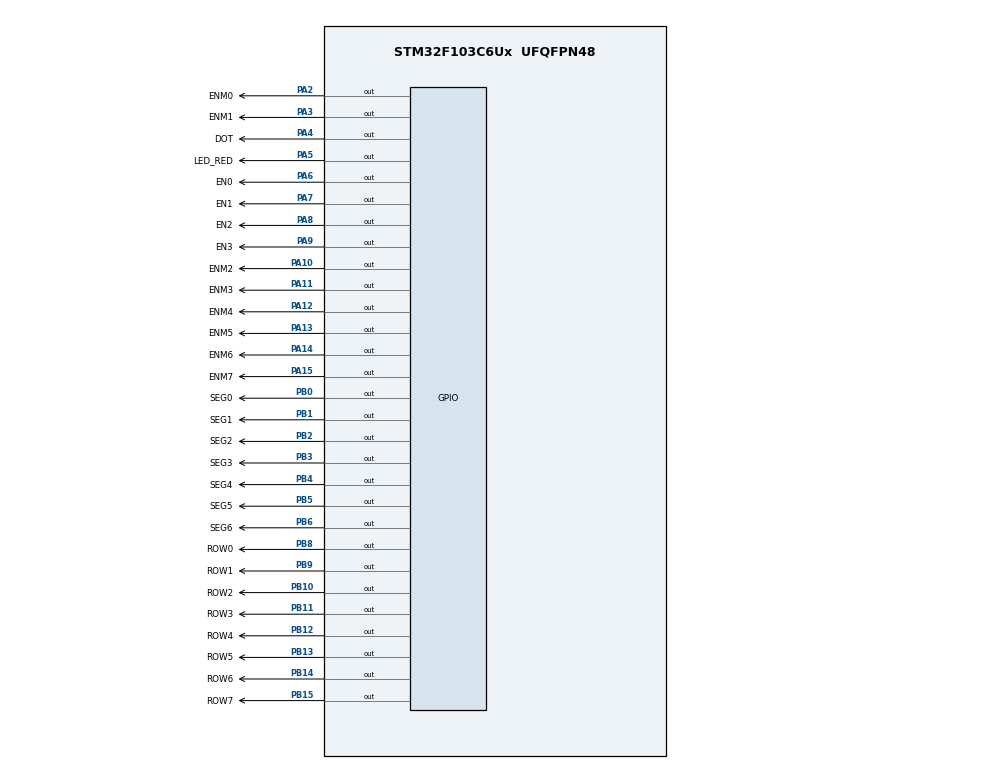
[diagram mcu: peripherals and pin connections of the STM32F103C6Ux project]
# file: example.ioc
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Mcu.Family=STM32F1
Mcu.Name=STM32F103C6Ux
Mcu.Package=UFQFPN48
NVIC.PriorityGroup=NVIC_PRIORITYGROUP_4
NVIC.TIM2_IRQn=true\:0\:0\:false\:false\:true\:true\:true
PA10.GPIO_Label=ENM2
PA10.Signal=GPIO_Output
PA11.GPIO_Label=ENM3
PA11.Signal=GPIO_Output
PA12.GPIO_Label=ENM4
PA12.Signal=GPIO_Output
PA13.GPIO_Label=ENM5
PA13.Signal=GPIO_Output
PA14.GPIO_Label=ENM6
PA14.Signal=GPIO_Output
PA15.GPIO_Label=ENM7
PA15.Signal=GPIO_Output
PA2.GPIO_Label=ENM0
PA2.Signal=GPIO_Output
PA3.GPIO_Label=ENM1
PA3.Signal=GPIO_Output
PA4.GPIO_Label=DOT
PA4.Signal=GPIO_Output
PA5.GPIO_Label=LED_RED
PA5.Signal=GPIO_Output
PA6.GPIO_Label=EN0
PA6.Signal=GPIO_Output
PA7.GPIO_Label=EN1
PA7.Signal=GPIO_Output
PA8.GPIO_Label=EN2
PA8.Signal=GPIO_Output
PA9.GPIO_Label=EN3
PA9.Signal=GPIO_Output
PB0.GPIO_Label=SEG0
PB0.Signal=GPIO_Output
PB1.GPIO_Label=SEG1
PB1.Signal=GPIO_Output
PB10.GPIO_Label=ROW2
PB10.Signal=GPIO_Output
PB11.GPIO_Label=ROW3
PB11.Signal=GPIO_Output
PB12.GPIO_Label=ROW4
PB12.Signal=GPIO_Output
PB13.GPIO_Label=ROW5
PB13.Signal=GPIO_Output
PB14.GPIO_Label=ROW6
PB14.Signal=GPIO_Output
PB15.GPIO_Label=ROW7
PB15.Signal=GPIO_Output
PB2.GPIO_Label=SEG2
PB2.Signal=GPIO_Output
PB3.GPIO_Label=SEG3
PB3.Signal=GPIO_Output
PB4.GPIO_Label=SEG4
PB4.Signal=GPIO_Output
PB5.GPIO_Label=SEG5
PB5.Signal=GPIO_Output
PB6.GPIO_Label=SEG6
PB6.Signal=GPIO_Output
PB8.GPIO_Label=ROW0
PB8.Signal=GPIO_Output
PB9.GPIO_Label=ROW1
PB9.Signal=GPIO_Output
ProjectManager.HeapSize=0x200
ProjectManager.StackSize=0x400
ProjectManager.TargetToolchain=STM32CubeIDE
RCC.APB1Freq_Value=8000000
RCC.APB2Freq_Value=8000000
TIM2.Period=9
TIM2.Prescaler=7999
VP_SYS_VS_ND.Mode=No_Debug
VP_TIM2_VS_ClockSourceINT.Mode=Internal
board=custom

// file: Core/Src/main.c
/* USER CODE BEGIN Header */
/**
  ******************************************************************************
  * @file           : main.c
  * @brief          : Main program body
  ******************************************************************************
  * @attention
  *
  * <h2><center>&copy; Copyright (c) 2023 STMicroelectronics.
  * All rights reserved.</center></h2>
  *
  * This software component is licensed by ST under BSD 3-Clause license,
  * the "License"; You may not use this file except in compliance with the
  * License. You may obtain a copy of the License at:
  *                        opensource.org/licenses/BSD-3-Clause
  *
  ******************************************************************************
  */
/* USER CODE END Header */
#include "main.h"

/* USER CODE BEGIN Includes */
#include "software_timer.h"
/* USER CODE END Includes */

TIM_HandleTypeDef htim2;

void SystemClock_Config(void);
static void MX_GPIO_Init(void);
static void MX_TIM2_Init(void);

/* USER CODE BEGIN 0 */
void display7SEG(int counter){
	if (counter == 0){
		HAL_GPIO_WritePin(SEG0_GPIO_Port, SEG0_Pin, GPIO_PIN_RESET);
		HAL_GPIO_WritePin(SEG1_GPIO_Port, SEG1_Pin, GPIO_PIN_RESET);
		HAL_GPIO_WritePin(SEG2_GPIO_Port, SEG2_Pin, GPIO_PIN_RESET);
		HAL_GPIO_WritePin(SEG3_GPIO_Port, SEG3_Pin, GPIO_PIN_RESET);
		HAL_GPIO_WritePin(SEG4_GPIO_Port, SEG4_Pin, GPIO_PIN_RESET);
		HAL_GPIO_WritePin(SEG5_GPIO_Port, SEG5_Pin, GPIO_PIN_RESET);
		HAL_GPIO_WritePin(SEG6_GPIO_Port, SEG6_Pin, GPIO_PIN_SET);

	}
	else if (counter == 1){
		HAL_GPIO_WritePin(SEG0_GPIO_Port, SEG0_Pin, GPIO_PIN_SET);
		HAL_GPIO_WritePin(SEG1_GPIO_Port, SEG1_Pin, GPIO_PIN_RESET);
		HAL_GPIO_WritePin(SEG2_GPIO_Port, SEG2_Pin, GPIO_PIN_RESET);
		HAL_GPIO_WritePin(SEG3_GPIO_Port, SEG3_Pin, GPIO_PIN_SET);
		HAL_GPIO_WritePin(SEG4_GPIO_Port, SEG4_Pin, GPIO_PIN_SET);
		HAL_GPIO_WritePin(SEG5_GPIO_Port, SEG5_Pin, GPIO_PIN_SET);
		HAL_GPIO_WritePin(SEG6_GPIO_Port, SEG6_Pin, GPIO_PIN_SET);
	}
	else if (counter == 2){
		HAL_GPIO_WritePin(SEG0_GPIO_Port, SEG0_Pin, GPIO_PIN_RESET);
		HAL_GPIO_WritePin(SEG1_GPIO_Port, SEG1_Pin, GPIO_PIN_RESET);
		HAL_GPIO_WritePin(SEG2_GPIO_Port, SEG2_Pin, GPIO_PIN_SET);
		HAL_GPIO_WritePin(SEG3_GPIO_Port, SEG3_Pin, GPIO_PIN_RESET);
		HAL_GPIO_WritePin(SEG4_GPIO_Port, SEG4_Pin, GPIO_PIN_RESET);
		HAL_GPIO_WritePin(SEG5_GPIO_Port, SEG5_Pin, GPIO_PIN_SET);
		HAL_GPIO_WritePin(SEG6_GPIO_Port, SEG6_Pin, GPIO_PIN_RESET);
	}
	else if (counter == 3){
		HAL_GPIO_WritePin(SEG0_GPIO_Port, SEG0_Pin, GPIO_PIN_RESET);
		HAL_GPIO_WritePin(SEG1_GPIO_Port, SEG1_Pin, GPIO_PIN_RESET);
		HAL_GPIO_WritePin(SEG2_GPIO_Port, SEG2_Pin, GPIO_PIN_RESET);
		HAL_GPIO_WritePin(SEG3_GPIO_Port, SEG3_Pin, GPIO_PIN_RESET);
		HAL_GPIO_WritePin(SEG4_GPIO_Port, SEG4_Pin, GPIO_PIN_SET);
		HAL_GPIO_WritePin(SEG5_GPIO_Port, SEG5_Pin, GPIO_PIN_SET);
		HAL_GPIO_WritePin(SEG6_GPIO_Port, SEG6_Pin, GPIO_PIN_RESET);
	}
	else if (counter == 4){
		HAL_GPIO_WritePin(SEG0_GPIO_Port, SEG0_Pin, GPIO_PIN_SET);
		HAL_GPIO_WritePin(SEG1_GPIO_Port, SEG1_Pin, GPIO_PIN_RESET);
		HAL_GPIO_WritePin(SEG2_GPIO_Port, SEG2_Pin, GPIO_PIN_RESET);
		HAL_GPIO_WritePin(SEG3_GPIO_Port, SEG3_Pin, GPIO_PIN_SET);
		HAL_GPIO_WritePin(SEG4_GPIO_Port, SEG4_Pin, GPIO_PIN_SET);
		HAL_GPIO_WritePin(SEG5_GPIO_Port, SEG5_Pin, GPIO_PIN_RESET);
		HAL_GPIO_WritePin(SEG6_GPIO_Port, SEG6_Pin, GPIO_PIN_RESET);
	}
	else if(counter == 5){
		HAL_GPIO_WritePin(SEG0_GPIO_Port, SEG0_Pin, GPIO_PIN_RESET);
		HAL_GPIO_WritePin(SEG1_GPIO_Port, SEG1_Pin, GPIO_PIN_SET);
		HAL_GPIO_WritePin(SEG2_GPIO_Port, SEG2_Pin, GPIO_PIN_RESET);
		HAL_GPIO_WritePin(SEG3_GPIO_Port, SEG3_Pin, GPIO_PIN_RESET);
		HAL_GPIO_WritePin(SEG4_GPIO_Port, SEG4_Pin, GPIO_PIN_SET);
		HAL_GPIO_WritePin(SEG5_GPIO_Port, SEG5_Pin, GPIO_PIN_RESET);
		HAL_GPIO_WritePin(SEG6_GPIO_Port, SEG6_Pin, GPIO_PIN_RESET);
	}
	else if (counter == 6){
		HAL_GPIO_WritePin(SEG0_GPIO_Port, SEG0_Pin, GPIO_PIN_RESET);
		HAL_GPIO_WritePin(SEG1_GPIO_Port, SEG1_Pin, GPIO_PIN_SET);
		HAL_GPIO_WritePin(SEG2_GPIO_Port, SEG2_Pin, GPIO_PIN_RESET);
		HAL_GPIO_WritePin(SEG3_GPIO_Port, SEG3_Pin, GPIO_PIN_RESET);
		HAL_GPIO_WritePin(SEG4_GPIO_Port, SEG4_Pin, GPIO_PIN_RESET);
		HAL_GPIO_WritePin(SEG5_GPIO_Port, SEG5_Pin, GPIO_PIN_RESET);
		HAL_GPIO_WritePin(SEG6_GPIO_Port, SEG6_Pin, GPIO_PIN_RESET);
	}
	else if (counter == 7){
		HAL_GPIO_WritePin(SEG0_GPIO_Port, SEG0_Pin, GPIO_PIN_RESET);
		HAL_GPIO_WritePin(SEG1_GPIO_Port, SEG1_Pin, GPIO_PIN_RESET);
		HAL_GPIO_WritePin(SEG2_GPIO_Port, SEG2_Pin, GPIO_PIN_RESET);
		HAL_GPIO_WritePin(SEG3_GPIO_Port, SEG3_Pin, GPIO_PIN_SET);
		HAL_GPIO_WritePin(SEG4_GPIO_Port, SEG4_Pin, GPIO_PIN_SET);
		HAL_GPIO_WritePin(SEG5_GPIO_Port, SEG5_Pin, GPIO_PIN_SET);
		HAL_GPIO_WritePin(SEG6_GPIO_Port, SEG6_Pin, GPIO_PIN_SET);
	}
	else if (counter == 8){
		HAL_GPIO_WritePin(SEG0_GPIO_Port, SEG0_Pin, GPIO_PIN_RESET);
		HAL_GPIO_WritePin(SEG1_GPIO_Port, SEG1_Pin, GPIO_PIN_RESET);
		HAL_GPIO_WritePin(SEG2_GPIO_Port, SEG2_Pin, GPIO_PIN_RESET);
		HAL_GPIO_WritePin(SEG3_GPIO_Port, SEG3_Pin, GPIO_PIN_RESET);
		HAL_GPIO_WritePin(SEG4_GPIO_Port, SEG4_Pin, GPIO_PIN_RESET);
		HAL_GPIO_WritePin(SEG5_GPIO_Port, SEG5_Pin, GPIO_PIN_RESET);
		HAL_GPIO_WritePin(SEG6_GPIO_Port, SEG6_Pin, GPIO_PIN_RESET);
	}
	else {
		HAL_GPIO_WritePin(SEG0_GPIO_Port, SEG0_Pin, GPIO_PIN_RESET);
		HAL_GPIO_WritePin(SEG1_GPIO_Port, SEG1_Pin, GPIO_PIN_RESET);
		HAL_GPIO_WritePin(SEG2_GPIO_Port, SEG2_Pin, GPIO_PIN_RESET);
		HAL_GPIO_WritePin(SEG3_GPIO_Port, SEG3_Pin, GPIO_PIN_RESET);
		HAL_GPIO_WritePin(SEG4_GPIO_Port, SEG4_Pin, GPIO_PIN_SET);
		HAL_GPIO_WritePin(SEG5_GPIO_Port, SEG5_Pin, GPIO_PIN_RESET);
		HAL_GPIO_WritePin(SEG6_GPIO_Port, SEG6_Pin, GPIO_PIN_RESET);
	}
}

const int MAX_LED = 4;
int index_led = 0;
int led_buffer[4] = {1, 5, 0, 8};
void update7SEG (int index){

	switch(index){
		case 0:
			HAL_GPIO_WritePin(EN0_GPIO_Port, EN0_Pin, RESET);
			HAL_GPIO_WritePin(EN1_GPIO_Port, EN1_Pin, SET);
			HAL_GPIO_WritePin(EN2_GPIO_Port, EN2_Pin, SET);
			HAL_GPIO_WritePin(EN3_GPIO_Port, EN3_Pin, SET);
			display7SEG(led_buffer[index]);
			break;
		case 1:
			HAL_GPIO_WritePin(EN0_GPIO_Port, EN0_Pin, SET);
			HAL_GPIO_WritePin(EN1_GPIO_Port, EN1_Pin, RESET);
			HAL_GPIO_WritePin(EN2_GPIO_Port, EN2_Pin, SET);
			HAL_GPIO_WritePin(EN3_GPIO_Port, EN3_Pin, SET);
			display7SEG(led_buffer[index]);
			break;
		case 2:
			HAL_GPIO_WritePin(EN0_GPIO_Port, EN0_Pin, SET);
			HAL_GPIO_WritePin(EN1_GPIO_Port, EN1_Pin, SET);
			HAL_GPIO_WritePin(EN2_GPIO_Port, EN2_Pin, RESET);
			HAL_GPIO_WritePin(EN3_GPIO_Port, EN3_Pin, SET);
			display7SEG(led_buffer[index]);
			break;
		case 3:
			HAL_GPIO_WritePin(EN0_GPIO_Port, EN0_Pin, SET);
			HAL_GPIO_WritePin(EN1_GPIO_Port, EN1_Pin, SET);
			HAL_GPIO_WritePin(EN2_GPIO_Port, EN2_Pin, SET);
			HAL_GPIO_WritePin(EN3_GPIO_Port, EN3_Pin, RESET);
			display7SEG(led_buffer[index]);
			break;
		default:
			break;
	}
}

void updateClockBuffer(int min, int hour){
	led_buffer[0] = hour / 10;
	led_buffer[1] = hour % 10;
	led_buffer[2] = min / 10;
	led_buffer[3] = min % 10;
}
/* USER CODE END 0 */

int main(void)
{

  /* MCU Configuration--------------------------------------------------------*/

  /* Reset of all peripherals, Initializes the Flash interface and the Systick. */
  HAL_Init();

  /* Configure the system clock */
  SystemClock_Config();

  /* Initialize all configured peripherals */
  MX_GPIO_Init();
  MX_TIM2_Init();
  /* USER CODE BEGIN 2 */
  HAL_TIM_Base_Start_IT(&htim2);
  /* USER CODE END 2 */

  /* Infinite loop */
  /* USER CODE BEGIN WHILE */
  setTimer0(100);
  setTimer1(100);
  setTimer2(25);
  int hour = 15, minute = 8, second = 50;
  while (1)
  {
	  if (timer0_flag == 1){
		  HAL_GPIO_TogglePin(LED_RED_GPIO_Port, LED_RED_Pin);
		  HAL_GPIO_TogglePin(DOT_GPIO_Port, DOT_Pin);
		  setTimer0(100);
	  }

	  if (timer1_flag == 1){
		 if(second >= 60){
		  	  minute++;
		  	 second = 0;
		 }
		 if(minute >= 60){
		  	 hour++;
		  	 minute = 0;
		 }
		 if(hour >= 24){
		  	 hour = 0;
		 }
		 updateClockBuffer(minute, hour);
		 second++;
		 setTimer1(100);
	  }
	  if(timer2_flag == 1){
		  update7SEG(index_led++);
		  index_led %= MAX_LED;
		  setTimer2(25);
	  }
    /* USER CODE END WHILE */

  }
}

void SystemClock_Config(void)
{
  RCC_OscInitTypeDef RCC_OscInitStruct = {0};
  RCC_ClkInitTypeDef RCC_ClkInitStruct = {0};

  /** Initializes the RCC Oscillators according to the specified parameters
  * in the RCC_OscInitTypeDef structure.
  */
  RCC_OscInitStruct.OscillatorType = RCC_OSCILLATORTYPE_HSI;
  RCC_OscInitStruct.HSIState = RCC_HSI_ON;
  RCC_OscInitStruct.HSICalibrationValue = RCC_HSICALIBRATION_DEFAULT;
  RCC_OscInitStruct.PLL.PLLState = RCC_PLL_NONE;
  if (HAL_RCC_OscConfig(&RCC_OscInitStruct) != HAL_OK)
  {
    Error_Handler();
  }
  /** Initializes the CPU, AHB and APB buses clocks
  */
  RCC_ClkInitStruct.ClockType = RCC_CLOCKTYPE_HCLK|RCC_CLOCKTYPE_SYSCLK
                              |RCC_CLOCKTYPE_PCLK1|RCC_CLOCKTYPE_PCLK2;
  RCC_ClkInitStruct.SYSCLKSource = RCC_SYSCLKSOURCE_HSI;
  RCC_ClkInitStruct.AHBCLKDivider = RCC_SYSCLK_DIV1;
  RCC_ClkInitStruct.APB1CLKDivider = RCC_HCLK_DIV1;
  RCC_ClkInitStruct.APB2CLKDivider = RCC_HCLK_DIV1;

  if (HAL_RCC_ClockConfig(&RCC_ClkInitStruct, FLASH_LATENCY_0) != HAL_OK)
  {
    Error_Handler();
  }
}

static void MX_TIM2_Init(void)
{

  TIM_ClockConfigTypeDef sClockSourceConfig = {0};
  TIM_MasterConfigTypeDef sMasterConfig = {0};

  htim2.Instance = TIM2;
  htim2.Init.Prescaler = 7999;
  htim2.Init.CounterMode = TIM_COUNTERMODE_UP;
  htim2.Init.Period = 9;
  htim2.Init.ClockDivision = TIM_CLOCKDIVISION_DIV1;
  htim2.Init.AutoReloadPreload = TIM_AUTORELOAD_PRELOAD_DISABLE;
  if (HAL_TIM_Base_Init(&htim2) != HAL_OK)
  {
    Error_Handler();
  }
  sClockSourceConfig.ClockSource = TIM_CLOCKSOURCE_INTERNAL;
  if (HAL_TIM_ConfigClockSource(&htim2, &sClockSourceConfig) != HAL_OK)
  {
    Error_Handler();
  }
  sMasterConfig.MasterOutputTrigger = TIM_TRGO_RESET;
  sMasterConfig.MasterSlaveMode = TIM_MASTERSLAVEMODE_DISABLE;
  if (HAL_TIMEx_MasterConfigSynchronization(&htim2, &sMasterConfig) != HAL_OK)
  {
    Error_Handler();
  }

}

static void MX_GPIO_Init(void)
{
  GPIO_InitTypeDef GPIO_InitStruct = {0};

  /* GPIO Ports Clock Enable */
  __HAL_RCC_GPIOA_CLK_ENABLE();
  __HAL_RCC_GPIOB_CLK_ENABLE();

  /*Configure GPIO pin Output Level */
  HAL_GPIO_WritePin(GPIOA, DOT_Pin|LED_RED_Pin|EN0_Pin|EN1_Pin
                          |EN2_Pin|EN3_Pin, GPIO_PIN_RESET);

  /*Configure GPIO pin Output Level */
  HAL_GPIO_WritePin(GPIOB, SEG0_Pin|SEG1_Pin|SEG2_Pin|SEG3_Pin
                          |SEG4_Pin|SEG5_Pin|SEG6_Pin, GPIO_PIN_RESET);

  /*Configure GPIO pins : DOT_Pin LED_RED_Pin EN0_Pin EN1_Pin
                           EN2_Pin EN3_Pin */
  GPIO_InitStruct.Pin = DOT_Pin|LED_RED_Pin|EN0_Pin|EN1_Pin
                          |EN2_Pin|EN3_Pin;
  GPIO_InitStruct.Mode = GPIO_MODE_OUTPUT_PP;
  GPIO_InitStruct.Pull = GPIO_NOPULL;
  GPIO_InitStruct.Speed = GPIO_SPEED_FREQ_LOW;
  HAL_GPIO_Init(GPIOA, &GPIO_InitStruct);

  /*Configure GPIO pins : SEG0_Pin SEG1_Pin SEG2_Pin SEG3_Pin
                           SEG4_Pin SEG5_Pin SEG6_Pin */
  GPIO_InitStruct.Pin = SEG0_Pin|SEG1_Pin|SEG2_Pin|SEG3_Pin
                          |SEG4_Pin|SEG5_Pin|SEG6_Pin;
  GPIO_InitStruct.Mode = GPIO_MODE_OUTPUT_PP;
  GPIO_InitStruct.Pull = GPIO_NOPULL;
  GPIO_InitStruct.Speed = GPIO_SPEED_FREQ_LOW;
  HAL_GPIO_Init(GPIOB, &GPIO_InitStruct);

}

/* USER CODE BEGIN 4 */

void HAL_TIM_PeriodElapsedCallback(TIM_HandleTypeDef* htim){
	timerRun();
}

/* USER CODE END 4 */

void Error_Handler(void)
{
  __disable_irq();
  while (1)
  {
  }
}

/************************ (C) COPYRIGHT STMicroelectronics *****END OF FILE****/
